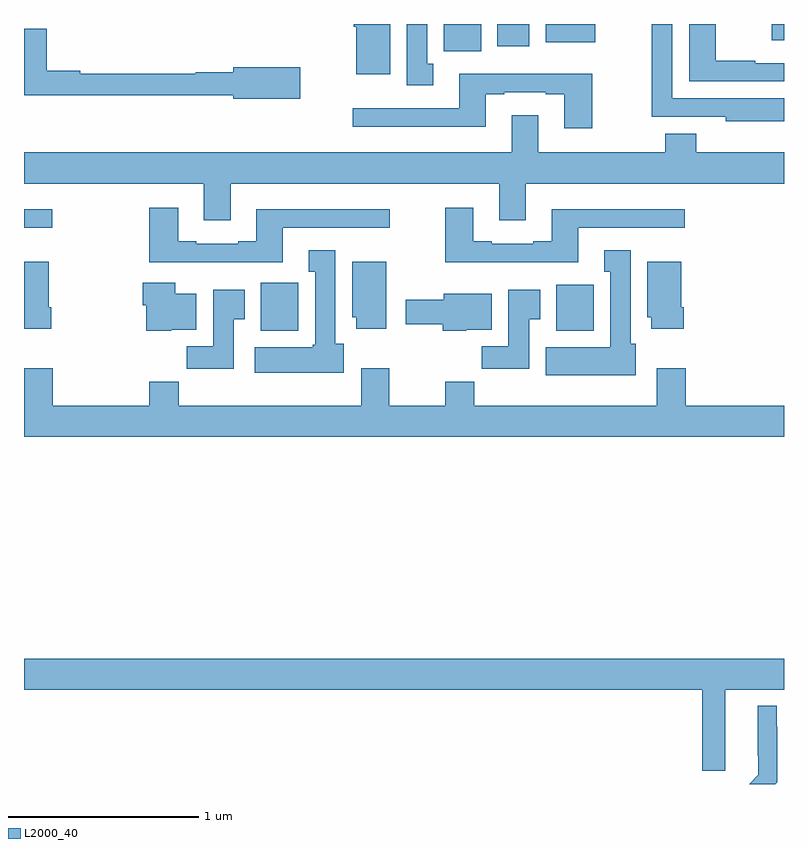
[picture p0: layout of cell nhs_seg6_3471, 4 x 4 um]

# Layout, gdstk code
import gdstk
lib = gdstk.Library(unit=1e-6, precision=1e-09)
def R(c, l, rs):  # rectangles x0, y0, x1, y1
    for r in rs: c.add(gdstk.rectangle(r[:2], r[2:], *l))
def P(c, l, *ps):  # polygons
    for p in ps: c.add(gdstk.Polygon(p, *l))
L2000_40 = (2000, 40)

nhs_seg6_3471 = lib.new_cell('nhs_seg6_3471')
R(nhs_seg6_3471, L2000_40, [(316.247,955.886,316.443,956.137), (317.801,955.886,317.998,956.128), (315,956.427,315.148,956.524), (317.21,957.356,317.407,957.5), (317.492,957.384,317.659,957.5), (317.747,957.404,318.006,957.5), (318.936,957.414,319,957.5)])
P(nhs_seg6_3471, L2000_40, [(317.155,957.29),(317.122,957.29),(317.122,957.5),(317.015,957.5),(317.015,957.177),(317.155,957.177)],
  [(316.927,957.5),(316.736,957.5),(316.736,957.485),(316.748,957.485),(316.748,957.236),(316.927,957.236)],
  [(319,957.108),(318.411,957.108),(318.411,957.5),(318.303,957.5),(318.303,957.012),(318.693,957.012),(318.693,956.987),(319,956.987)],
  [(319,957.294),(318.848,957.294),(318.848,957.307),(318.64,957.307),(318.64,957.5),(318.5,957.5),(318.5,957.198),(319,957.198)],
  [(316.453,957.273),(316.1,957.273),(316.1,957.247),(315.904,957.247),(315.904,957.239),(315.296,957.239),(315.296,957.254),(315.119,957.254),(315.119,957.476),(315,957.476),(315,957.126),(316.1,957.126),(316.1,957.107),(316.453,957.107)],
  [(317.991,957.238),(317.291,957.238),(317.291,957.057),(316.731,957.057),(316.731,956.96),(317.431,956.96),(317.431,957.129),(317.527,957.129),(317.527,957.141),(317.747,957.141),(317.747,957.129),(317.843,957.129),(317.843,956.952),(317.991,956.952)],
  [(316.087,956.66),(317.501,956.66),(317.501,956.466),(317.641,956.466),(317.641,956.66),(319,956.66),(319,956.824),(318.539,956.824),(318.539,956.923),(318.374,956.923),(318.374,956.824),(317.707,956.824),(317.707,957.019),(317.567,957.019),(317.567,956.824),(315,956.824),(315,956.66),(315.947,956.66),(315.947,956.466),(316.087,956.466)],
  [(316.363,956.427),(316.924,956.427),(316.924,956.524),(316.223,956.524),(316.223,956.356),(316.127,956.356),(316.127,956.343),(315.907,956.343),(315.907,956.356),(315.811,956.356),(315.811,956.533),(315.659,956.533),(315.659,956.246),(316.363,956.246)],
  [(317.917,956.427),(318.478,956.427),(318.478,956.524),(317.777,956.524),(317.777,956.356),(317.681,956.356),(317.681,956.343),(317.461,956.343),(317.461,956.356),(317.365,956.356),(317.365,956.533),(317.218,956.533),(317.218,956.246),(317.917,956.246)],
  [(318.22,955.818),(318.193,955.818),(318.193,956.308),(318.053,956.308),(318.053,956.195),(318.086,956.195),(318.086,955.798),(317.747,955.798),(317.747,955.652),(318.22,955.652)],
  [(316.684,955.818),(316.639,955.818),(316.639,956.308),(316.499,956.308),(316.499,956.195),(316.532,956.195),(316.532,955.812),(316.519,955.812),(316.519,955.798),(316.215,955.798),(316.215,955.664),(316.684,955.664)],
  [(315.143,956.008),(315.13,956.008),(315.13,956.248),(315,956.248),(315,955.896),(315.143,955.896)],
  [(316.906,956.248),(316.727,956.248),(316.727,955.956),(316.748,955.956),(316.748,955.896),(316.906,955.896)],
  [(318.473,956.008),(318.46,956.008),(318.46,956.248),(318.281,956.248),(318.281,955.956),(318.302,955.956),(318.302,955.896),(318.473,955.896)],
  [(315.774,955.892),(315.907,955.892),(315.907,956.08),(315.796,956.08),(315.796,956.137),(315.626,956.137),(315.626,956.019),(315.644,956.019),(315.644,955.886),(315.774,955.886)],
  [(317.659,955.945),(317.716,955.945),(317.716,956.101),(317.549,956.101),(317.549,955.804),(317.41,955.804),(317.41,955.686),(317.659,955.686)],
  [(316.105,955.945),(316.162,955.945),(316.162,956.101),(315.995,956.101),(315.995,955.804),(315.856,955.804),(315.856,955.686),(316.105,955.686)],
  [(317.328,955.892),(317.461,955.892),(317.461,956.08),(317.21,956.08),(317.21,956.05),(317.01,956.05),(317.01,955.921),(317.203,955.921),(317.203,955.886),(317.328,955.886)],
  [(318.329,955.687),(318.329,955.492),(317.369,955.492),(317.369,955.616),(317.218,955.616),(317.218,955.492),(316.923,955.492),(316.923,955.687),(316.775,955.687),(316.775,955.492),(315.815,955.492),(315.815,955.616),(315.659,955.616),(315.659,955.492),(315.152,955.492),(315.152,955.687),(315,955.687),(315,955.328),(319,955.328),(319,955.492),(318.482,955.492),(318.482,955.687)],
  [(318.691,953.996),(319,953.996),(319,954.16),(315,954.16),(315,953.996),(318.569,953.996),(318.569,953.571),(318.691,953.571)],
  [(318.965,953.51),(318.965,953.801),(318.961,953.801),(318.961,953.911),(318.863,953.911),(318.863,953.65),(318.864,953.65),(318.864,953.548),(318.816,953.5),(318.955,953.5)])

lib.write_gds('nhs_seg6_3471.gds')
